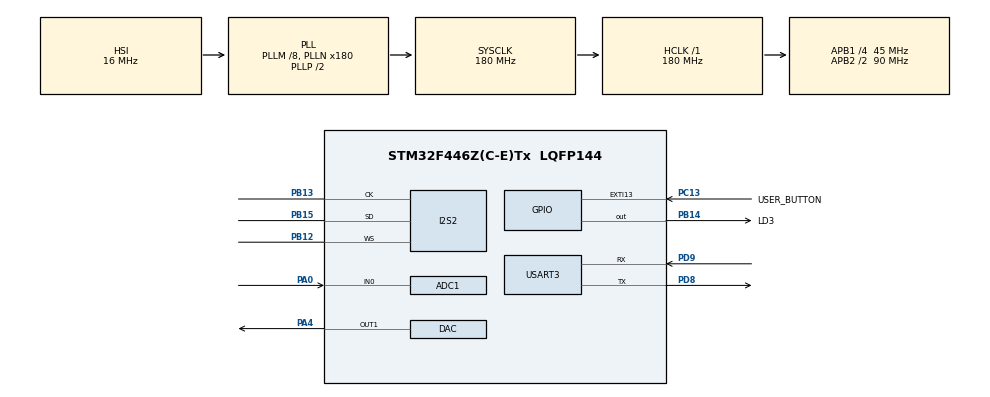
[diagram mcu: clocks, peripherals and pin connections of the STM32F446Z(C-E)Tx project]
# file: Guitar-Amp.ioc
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ADC1.Channel-0\#ChannelRegularConversion=ADC_CHANNEL_0
ADC1.DMAContinuousRequests=ENABLE
ADC1.ExternalTrigConv=ADC_EXTERNALTRIGCONV_T2_TRGO
ADC1.NbrOfConversionFlag=1
ADC1.Rank-0\#ChannelRegularConversion=1
ADC1.SamplingTime-0\#ChannelRegularConversion=ADC_SAMPLETIME_3CYCLES
ADC1.master=1
DAC.DAC_Trigger=DAC_TRIGGER_T2_TRGO
Dma.ADC1.0.Direction=DMA_PERIPH_TO_MEMORY
Dma.ADC1.0.FIFOMode=DMA_FIFOMODE_DISABLE
Dma.ADC1.0.Instance=DMA2_Stream0
Dma.ADC1.0.MemDataAlignment=DMA_MDATAALIGN_HALFWORD
Dma.ADC1.0.MemInc=DMA_MINC_ENABLE
Dma.ADC1.0.Mode=DMA_CIRCULAR
Dma.ADC1.0.PeriphDataAlignment=DMA_PDATAALIGN_HALFWORD
Dma.ADC1.0.PeriphInc=DMA_PINC_DISABLE
Dma.ADC1.0.Priority=DMA_PRIORITY_LOW
Dma.DAC1.1.Direction=DMA_MEMORY_TO_PERIPH
Dma.DAC1.1.FIFOMode=DMA_FIFOMODE_DISABLE
Dma.DAC1.1.Instance=DMA1_Stream5
Dma.DAC1.1.MemDataAlignment=DMA_MDATAALIGN_HALFWORD
Dma.DAC1.1.MemInc=DMA_MINC_ENABLE
Dma.DAC1.1.Mode=DMA_CIRCULAR
Dma.DAC1.1.PeriphDataAlignment=DMA_PDATAALIGN_HALFWORD
Dma.DAC1.1.PeriphInc=DMA_PINC_DISABLE
Dma.DAC1.1.Priority=DMA_PRIORITY_LOW
Dma.Request0=ADC1
Dma.Request1=DAC1
Dma.Request2=SPI2_TX
Dma.SPI2_TX.2.Direction=DMA_MEMORY_TO_PERIPH
Dma.SPI2_TX.2.FIFOMode=DMA_FIFOMODE_DISABLE
Dma.SPI2_TX.2.Instance=DMA1_Stream4
Dma.SPI2_TX.2.MemDataAlignment=DMA_MDATAALIGN_HALFWORD
Dma.SPI2_TX.2.MemInc=DMA_MINC_ENABLE
Dma.SPI2_TX.2.Mode=DMA_CIRCULAR
Dma.SPI2_TX.2.PeriphDataAlignment=DMA_PDATAALIGN_HALFWORD
Dma.SPI2_TX.2.PeriphInc=DMA_PINC_DISABLE
Dma.SPI2_TX.2.Priority=DMA_PRIORITY_LOW
I2S2.AudioFreq=I2S_AUDIOFREQ_48K
I2S2.ErrorAudioFreq=-0.79 %
I2S2.FullDuplexMode=I2S_FULLDUPLEXMODE_DISABLE
I2S2.Instance=SPI$Index
I2S2.RealAudioFreq=47.619 KHz
I2S2.VirtualMode=I2S_MODE_MASTER
Mcu.Family=STM32F4
Mcu.Name=STM32F446Z(C-E)Tx
Mcu.Package=LQFP144
NVIC.DMA1_Stream4_IRQn=true\:0\:0\:false\:false\:true\:false\:true\:true
NVIC.DMA1_Stream5_IRQn=true\:0\:0\:false\:false\:true\:false\:true\:true
NVIC.DMA2_Stream0_IRQn=true\:0\:0\:false\:false\:true\:false\:true\:true
NVIC.EXTI15_10_IRQn=true\:0\:0\:false\:false\:true\:true\:true\:true
NVIC.PriorityGroup=NVIC_PRIORITYGROUP_4
PA0-WKUP.Signal=ADCx_IN0
PA4.Signal=COMP_DAC1_group
PB12.Mode=Half_Duplex_Master
PB12.Signal=I2S2_WS
PB13.Mode=Half_Duplex_Master
PB13.Signal=I2S2_CK
PB14.GPIO_Label=LD3
PB14.Signal=GPIO_Output
PB15.Mode=Half_Duplex_Master
PB15.Signal=I2S2_SD
PC13.GPIO_Label=USER_BUTTON
PC13.GPIO_ModeDefaultEXTI=GPIO_MODE_IT_RISING
PC13.GPIO_PuPd=GPIO_NOPULL
PC13.Signal=GPXTI13
PC6.Signal=I2S2_MCK
PD8.Mode=Asynchronous
PD8.Signal=USART3_TX
PD9.Mode=Asynchronous
PD9.Signal=USART3_RX
ProjectManager.HeapSize=0x200
ProjectManager.StackSize=0x400
ProjectManager.TargetToolchain=CMake
RCC.AHBFreq_Value=180000000
RCC.APB1CLKDivider=RCC_HCLK_DIV4
RCC.APB1Freq_Value=45000000
RCC.APB1TimFreq_Value=90000000
RCC.APB2CLKDivider=RCC_HCLK_DIV2
RCC.APB2Freq_Value=90000000
RCC.APB2TimFreq_Value=180000000
RCC.CortexFreq_Value=180000000
RCC.HCLKFreq_Value=180000000
RCC.PLLM=8
RCC.PLLN=180
RCC.SYSCLKFreq_VALUE=180000000
RCC.SYSCLKSource=RCC_SYSCLKSOURCE_PLLCLK
RCC.USBFreq_Value=180000000
RCC.VCOOutputFreq_Value=360000000
SH.ADCx_IN0.0=ADC1_IN0,IN0
SH.COMP_DAC1_group.0=DAC_OUT1,DAC_OUT1
TIM2.Period=2040
TIM2.TIM_MasterOutputTrigger=TIM_TRGO_UPDATE
USART3.VirtualMode=VM_ASYNC
VP_TIM2_VS_ClockSourceINT.Mode=Internal
board=custom

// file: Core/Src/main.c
/* USER CODE BEGIN Header */
/**
  ******************************************************************************
  * @file           : main.c
  * @brief          : Main program body
  ******************************************************************************
  * @attention
  *
  * Copyright (c) 2026 STMicroelectronics.
  * All rights reserved.
  *
  * This software is licensed under terms that can be found in the LICENSE file
  * in the root directory of this software component.
  * If no LICENSE file comes with this software, it is provided AS-IS.
  *
  ******************************************************************************
  */
/* USER CODE END Header */
#include "main.h"

/* USER CODE BEGIN Includes */
#include "stdio.h"
#include <stdint.h>
#include "stm32f4xx_hal_gpio.h"
#include "math.h"
/* USER CODE END Includes */

/* USER CODE BEGIN PTD */
enum EFFECTS_ON {
  None,
  NoiseGate,
  NoiseGate_Delay,
  Delay,
  Distortion,
  NoiseGate_Distortion,
  Noisegate_Distortion_Reverb
};
/* USER CODE END PTD */

ADC_HandleTypeDef hadc1;
DMA_HandleTypeDef hdma_adc1;

DAC_HandleTypeDef hdac;
DMA_HandleTypeDef hdma_dac1;

I2S_HandleTypeDef hi2s2;
DMA_HandleTypeDef hdma_spi2_tx;

TIM_HandleTypeDef htim2;

UART_HandleTypeDef huart3;

/* USER CODE BEGIN PV */
#define AUDIO_BLOCK_SIZE  128
#define DELAY_SIZE 32768

// ADC buffer (2x block size for DMA double-buffering)
static uint16_t adc_buf[AUDIO_BLOCK_SIZE * 2];
// DAC buffer
static uint16_t dac_buf[AUDIO_BLOCK_SIZE * 2];
// I2S output buffer (stereo)
static int16_t i2s_tx_buf[4 * AUDIO_BLOCK_SIZE];
// Effects use this buffer
uint16_t effect_buf[AUDIO_BLOCK_SIZE * 2];

/* DELAY LINE STUFF FOR THE DELAY FUNCTION */
const uint16_t delay_buff_size_mask = DELAY_SIZE-1;
static uint16_t delay_ms, delay_samples, fs;
static uint16_t read_pointer, write_pointer;

uint16_t delayLine[DELAY_SIZE];

// 0 = process lower half, 1 = process upper half
static volatile uint8_t audio_block_ready = 0;
static volatile uint8_t audio_block_index = 0;

volatile enum EFFECTS_ON Effects_On = None;
/* USER CODE END PV */

void SystemClock_Config(void);
static void MX_GPIO_Init(void);
static void MX_DMA_Init(void);
static void MX_ADC1_Init(void);
static void MX_DAC_Init(void);
static void MX_TIM2_Init(void);
static void MX_USART3_UART_Init(void);
static void MX_I2S2_Init(void);

/* USER CODE BEGIN 0 */
int __io_putchar(int ch) {
  HAL_UART_Transmit(&huart3, (uint8_t*)&ch, 1, HAL_MAX_DELAY);
  return ch;
}

void HAL_ADC_ConvHalfCpltCallback(ADC_HandleTypeDef* hadc)
{
  // Lower half of adc_buf is ready
  audio_block_index = 0;
  audio_block_ready = 1;
}

void HAL_ADC_ConvCpltCallback(ADC_HandleTypeDef* hadc)
{
  // Upper half of adc_buf is ready
  audio_block_index = 1;
  audio_block_ready = 1;
}

//================================= EFFECTS BEGIN ====================================
void noise_gate(uint16_t *in_buf, uint16_t *out_buf, uint16_t size) {
  // Adjustable parametres
  const float threshold_open  = 110.0f;
  const float threshold_close = 70.0f;

  const float env_attack  = 0.25f;
  const float env_release = 0.003f;

  const float gain_attack  = 0.12f;
  const float gain_release = 0.0015f;

  const float closed_gain = 0.05f;

  // Persistent state
  static float envelope = 0.0f;
  static float gain = 1.0f;

  // Processing
  for (uint16_t i = 0; i < size; i++) {
    int32_t x = (int32_t)in_buf[i] - 2048;
    float level = (float)((x < 0) ? -x : x);

    // Envelope follower
    if (level > envelope) {
      envelope += env_attack * (level - envelope);
    } else {
      envelope += env_release * (level - envelope);
    }

    // Hysteresis gate decision
    float target_gain = gain;

    if (envelope >= threshold_open) {
      target_gain = 1.0f;
    } else if (envelope <= threshold_close) {
      target_gain = closed_gain;
    }

    // Smooth gain changes
    if (target_gain > gain) {
      gain += gain_attack * (target_gain - gain);
    } else {
      gain += gain_release * (target_gain - gain);
    }

    int32_t y = (int32_t)((float)x * gain);

    y += 2048;
    if (y < 0) y = 0;
    if (y > 4095) y = 4095;

    out_buf[i] = (uint16_t)y;
  }
}

void delay(uint16_t size, uint16_t *in, uint16_t *out){

  // audio parameters
  const float bl = 1.0f;
  const float fb = 0.5f;
  const float ff = 0.7f;

  // low-pass filter for feedback
  static float lp = 0;
  float alpha = 0.6f;

  for (uint16_t j = 0; j < size; ++j){

    float dry = (float)in[j] - 2048.0f;
    float delayed = (float)delayLine[read_pointer] - 2048.0f;

    // output computation
    float y = bl * dry + ff * delayed;

    // feedback computation
    lp = alpha * delayed + (1 - alpha) * lp;
    float fb_sample = dry + fb * lp;

    // clamp outputs
    float y_out = y + 2048.0f;
    if (y_out < 0.0f) y_out = 0.0f;
    if (y_out > 4095.0f) y_out = 4095.0f;

    float d_out = fb_sample + 2048.0f;
    if (d_out < 0.0f) d_out = 0.0f;
    if (d_out > 4095.0f) d_out = 4095.0f;

    out[j] = (uint16_t)y_out;
    delayLine[write_pointer] = (uint16_t)d_out;

    write_pointer = (write_pointer + 1) & delay_buff_size_mask;
    read_pointer  = (read_pointer  + 1) & delay_buff_size_mask;
  }
}

void distortion(uint16_t *buf_in, uint16_t *buf_out, uint16_t size)
{
  const float drive = 5.0f;    // input gain (adjustable)

  for (uint16_t i = 0; i < size; i++) {
    float x = ((int32_t)buf_in[i] - 2048) / 2048.0f;

    x *= drive;

    float y = tanhf(x);

    int32_t out = (int32_t)(y * 2048.0f) + 2048;

    if (out < 0) out = 0;
    if (out > 4095) out = 4095;

    buf_out[i] = (uint16_t)out;
  }
}

// =========================== EFFECTS END =================================

void process_audio(uint16_t* in_buf, uint16_t* out_buf, uint16_t size)
{
  switch(Effects_On){
    case None:
      for (uint16_t i = 0; i < size; i++) {
        out_buf[i] = in_buf[i];
      }
      break;
    case Delay:
      delay(size, in_buf, out_buf);
      break;
    case NoiseGate:
      noise_gate(in_buf, out_buf, size);
      break;
    case NoiseGate_Delay:
      noise_gate(in_buf, effect_buf, size);
      delay(size, effect_buf, out_buf);
      break;
    case Distortion:
      distortion(in_buf, out_buf, size);
      break;
    case NoiseGate_Distortion:
      noise_gate(in_buf, effect_buf, size);
      distortion(effect_buf, out_buf, size);
      break;
    case Noisegate_Distortion_Reverb:
      noise_gate(in_buf, effect_buf, size);
      distortion(effect_buf, effect_buf, size);
      delay(size, effect_buf, out_buf);
      break;
  }
}

void delay_parameters_init(void){
  delay_ms = 300;
  fs = 44100;
  delay_samples = delay_ms * fs / 1000;

  write_pointer = 0;
  read_pointer = DELAY_SIZE - delay_samples;  // start behind write pointer
}

/* USER CODE END 0 */

int main(void)
{

  /* MCU Configuration--------------------------------------------------------*/

  /* Reset of all peripherals, Initializes the Flash interface and the Systick. */
  HAL_Init();

  /* Configure the system clock */
  SystemClock_Config();

  /* Initialize all configured peripherals */
  MX_GPIO_Init();
  MX_DMA_Init();
  MX_ADC1_Init();
  MX_DAC_Init();
  MX_TIM2_Init();
  MX_USART3_UART_Init();
  MX_I2S2_Init();
  /* USER CODE BEGIN 2 */
  HAL_DAC_Start_DMA(&hdac, DAC_CHANNEL_1, (uint32_t *)dac_buf, AUDIO_BLOCK_SIZE * 2, DAC_ALIGN_12B_R);
  HAL_ADC_Start_DMA(&hadc1, (uint32_t *)adc_buf, AUDIO_BLOCK_SIZE * 2);
  HAL_I2S_Transmit_DMA(&hi2s2, (uint16_t *)i2s_tx_buf, 4 * AUDIO_BLOCK_SIZE);
  HAL_TIM_Base_Start(&htim2);
  printf("Amp Started\r\n");

  delay_parameters_init();
  /* USER CODE END 2 */

  /* Infinite loop */
  while (1)
  {

    /* USER CODE BEGIN 3 */
    if (audio_block_ready) {
      audio_block_ready = 0;
      uint32_t offset = audio_block_index * AUDIO_BLOCK_SIZE;
      process_audio(
        &adc_buf[offset],
        &dac_buf[offset],
        AUDIO_BLOCK_SIZE
      );
      for (uint16_t i = 0; i < AUDIO_BLOCK_SIZE; i++) {
        int16_t s = ((int32_t)dac_buf[offset + i] - 2048) << 4;

        i2s_tx_buf[2*(offset + i)]     = s; // Left
        i2s_tx_buf[2*(offset + i) + 1] = s; // Right
      }
    }
  }
  /* USER CODE END 3 */
}

void SystemClock_Config(void)
{
  RCC_OscInitTypeDef RCC_OscInitStruct = {0};
  RCC_ClkInitTypeDef RCC_ClkInitStruct = {0};

  /** Configure the main internal regulator output voltage
  */
  __HAL_RCC_PWR_CLK_ENABLE();
  __HAL_PWR_VOLTAGESCALING_CONFIG(PWR_REGULATOR_VOLTAGE_SCALE1);

  /** Initializes the RCC Oscillators according to the specified parameters
  * in the RCC_OscInitTypeDef structure.
  */
  RCC_OscInitStruct.OscillatorType = RCC_OSCILLATORTYPE_HSI;
  RCC_OscInitStruct.HSIState = RCC_HSI_ON;
  RCC_OscInitStruct.HSICalibrationValue = RCC_HSICALIBRATION_DEFAULT;
  RCC_OscInitStruct.PLL.PLLState = RCC_PLL_ON;
  RCC_OscInitStruct.PLL.PLLSource = RCC_PLLSOURCE_HSI;
  RCC_OscInitStruct.PLL.PLLM = 8;
  RCC_OscInitStruct.PLL.PLLN = 180;
  RCC_OscInitStruct.PLL.PLLP = RCC_PLLP_DIV2;
  RCC_OscInitStruct.PLL.PLLQ = 2;
  RCC_OscInitStruct.PLL.PLLR = 2;
  if (HAL_RCC_OscConfig(&RCC_OscInitStruct) != HAL_OK)
  {
    Error_Handler();
  }

  /** Activate the Over-Drive mode
  */
  if (HAL_PWREx_EnableOverDrive() != HAL_OK)
  {
    Error_Handler();
  }

  /** Initializes the CPU, AHB and APB buses clocks
  */
  RCC_ClkInitStruct.ClockType = RCC_CLOCKTYPE_HCLK|RCC_CLOCKTYPE_SYSCLK
                              |RCC_CLOCKTYPE_PCLK1|RCC_CLOCKTYPE_PCLK2;
  RCC_ClkInitStruct.SYSCLKSource = RCC_SYSCLKSOURCE_PLLCLK;
  RCC_ClkInitStruct.AHBCLKDivider = RCC_SYSCLK_DIV1;
  RCC_ClkInitStruct.APB1CLKDivider = RCC_HCLK_DIV4;
  RCC_ClkInitStruct.APB2CLKDivider = RCC_HCLK_DIV2;

  if (HAL_RCC_ClockConfig(&RCC_ClkInitStruct, FLASH_LATENCY_5) != HAL_OK)
  {
    Error_Handler();
  }
}

static void MX_ADC1_Init(void)
{

  ADC_ChannelConfTypeDef sConfig = {0};

  /** Configure the global features of the ADC (Clock, Resolution, Data Alignment and number of conversion)
  */
  hadc1.Instance = ADC1;
  hadc1.Init.ClockPrescaler = ADC_CLOCK_SYNC_PCLK_DIV4;
  hadc1.Init.Resolution = ADC_RESOLUTION_12B;
  hadc1.Init.ScanConvMode = DISABLE;
  hadc1.Init.ContinuousConvMode = DISABLE;
  hadc1.Init.DiscontinuousConvMode = DISABLE;
  hadc1.Init.ExternalTrigConvEdge = ADC_EXTERNALTRIGCONVEDGE_RISING;
  hadc1.Init.ExternalTrigConv = ADC_EXTERNALTRIGCONV_T2_TRGO;
  hadc1.Init.DataAlign = ADC_DATAALIGN_RIGHT;
  hadc1.Init.NbrOfConversion = 1;
  hadc1.Init.DMAContinuousRequests = ENABLE;
  hadc1.Init.EOCSelection = ADC_EOC_SINGLE_CONV;
  if (HAL_ADC_Init(&hadc1) != HAL_OK)
  {
    Error_Handler();
  }

  /** Configure for the selected ADC regular channel its corresponding rank in the sequencer and its sample time.
  */
  sConfig.Channel = ADC_CHANNEL_0;
  sConfig.Rank = 1;
  sConfig.SamplingTime = ADC_SAMPLETIME_3CYCLES;
  if (HAL_ADC_ConfigChannel(&hadc1, &sConfig) != HAL_OK)
  {
    Error_Handler();
  }

}

static void MX_DAC_Init(void)
{

  DAC_ChannelConfTypeDef sConfig = {0};

  /** DAC Initialization
  */
  hdac.Instance = DAC;
  if (HAL_DAC_Init(&hdac) != HAL_OK)
  {
    Error_Handler();
  }

  /** DAC channel OUT1 config
  */
  sConfig.DAC_Trigger = DAC_TRIGGER_T2_TRGO;
  sConfig.DAC_OutputBuffer = DAC_OUTPUTBUFFER_ENABLE;
  if (HAL_DAC_ConfigChannel(&hdac, &sConfig, DAC_CHANNEL_1) != HAL_OK)
  {
    Error_Handler();
  }

}

static void MX_I2S2_Init(void)
{

  hi2s2.Instance = SPI2;
  hi2s2.Init.Mode = I2S_MODE_MASTER_TX;
  hi2s2.Init.Standard = I2S_STANDARD_PHILIPS;
  hi2s2.Init.DataFormat = I2S_DATAFORMAT_16B;
  hi2s2.Init.MCLKOutput = I2S_MCLKOUTPUT_DISABLE;
  hi2s2.Init.AudioFreq = I2S_AUDIOFREQ_44K;
  hi2s2.Init.CPOL = I2S_CPOL_LOW;
  hi2s2.Init.ClockSource = I2S_CLOCK_PLL;
  hi2s2.Init.FullDuplexMode = I2S_FULLDUPLEXMODE_DISABLE;
  if (HAL_I2S_Init(&hi2s2) != HAL_OK)
  {
    Error_Handler();
  }

}

static void MX_TIM2_Init(void)
{

  TIM_ClockConfigTypeDef sClockSourceConfig = {0};
  TIM_MasterConfigTypeDef sMasterConfig = {0};

  htim2.Instance = TIM2;
  htim2.Init.Prescaler = 0;
  htim2.Init.CounterMode = TIM_COUNTERMODE_UP;
  htim2.Init.Period = 2040;
  htim2.Init.ClockDivision = TIM_CLOCKDIVISION_DIV1;
  htim2.Init.AutoReloadPreload = TIM_AUTORELOAD_PRELOAD_DISABLE;
  if (HAL_TIM_Base_Init(&htim2) != HAL_OK)
  {
    Error_Handler();
  }
  sClockSourceConfig.ClockSource = TIM_CLOCKSOURCE_INTERNAL;
  if (HAL_TIM_ConfigClockSource(&htim2, &sClockSourceConfig) != HAL_OK)
  {
    Error_Handler();
  }
  sMasterConfig.MasterOutputTrigger = TIM_TRGO_UPDATE;
  sMasterConfig.MasterSlaveMode = TIM_MASTERSLAVEMODE_DISABLE;
  if (HAL_TIMEx_MasterConfigSynchronization(&htim2, &sMasterConfig) != HAL_OK)
  {
    Error_Handler();
  }

}

static void MX_USART3_UART_Init(void)
{

  huart3.Instance = USART3;
  huart3.Init.BaudRate = 115200;
  huart3.Init.WordLength = UART_WORDLENGTH_8B;
  huart3.Init.StopBits = UART_STOPBITS_1;
  huart3.Init.Parity = UART_PARITY_NONE;
  huart3.Init.Mode = UART_MODE_TX_RX;
  huart3.Init.HwFlowCtl = UART_HWCONTROL_NONE;
  huart3.Init.OverSampling = UART_OVERSAMPLING_16;
  if (HAL_UART_Init(&huart3) != HAL_OK)
  {
    Error_Handler();
  }

}

static void MX_DMA_Init(void)
{

  /* DMA controller clock enable */
  __HAL_RCC_DMA2_CLK_ENABLE();
  __HAL_RCC_DMA1_CLK_ENABLE();

  /* DMA interrupt init */
  /* DMA1_Stream4_IRQn interrupt configuration */
  HAL_NVIC_SetPriority(DMA1_Stream4_IRQn, 0, 0);
  HAL_NVIC_EnableIRQ(DMA1_Stream4_IRQn);
  /* DMA1_Stream5_IRQn interrupt configuration */
  HAL_NVIC_SetPriority(DMA1_Stream5_IRQn, 0, 0);
  HAL_NVIC_EnableIRQ(DMA1_Stream5_IRQn);
  /* DMA2_Stream0_IRQn interrupt configuration */
  HAL_NVIC_SetPriority(DMA2_Stream0_IRQn, 0, 0);
  HAL_NVIC_EnableIRQ(DMA2_Stream0_IRQn);

}

static void MX_GPIO_Init(void)
{
  GPIO_InitTypeDef GPIO_InitStruct = {0};

  /* GPIO Ports Clock Enable */
  __HAL_RCC_GPIOC_CLK_ENABLE();
  __HAL_RCC_GPIOA_CLK_ENABLE();
  __HAL_RCC_GPIOB_CLK_ENABLE();
  __HAL_RCC_GPIOD_CLK_ENABLE();

  /*Configure GPIO pin Output Level */
  HAL_GPIO_WritePin(LD3_GPIO_Port, LD3_Pin, GPIO_PIN_RESET);

  /*Configure GPIO pin : USER_BUTTON_Pin */
  GPIO_InitStruct.Pin = USER_BUTTON_Pin;
  GPIO_InitStruct.Mode = GPIO_MODE_IT_RISING;
  GPIO_InitStruct.Pull = GPIO_NOPULL;
  HAL_GPIO_Init(USER_BUTTON_GPIO_Port, &GPIO_InitStruct);

  /*Configure GPIO pin : LD3_Pin */
  GPIO_InitStruct.Pin = LD3_Pin;
  GPIO_InitStruct.Mode = GPIO_MODE_OUTPUT_PP;
  GPIO_InitStruct.Pull = GPIO_NOPULL;
  GPIO_InitStruct.Speed = GPIO_SPEED_FREQ_LOW;
  HAL_GPIO_Init(LD3_GPIO_Port, &GPIO_InitStruct);

  /* EXTI interrupt init*/
  HAL_NVIC_SetPriority(EXTI15_10_IRQn, 0, 0);
  HAL_NVIC_EnableIRQ(EXTI15_10_IRQn);

}

/* USER CODE BEGIN 4 */
void HAL_GPIO_EXTI_Callback(uint16_t GPIO_Pin)
{
  if (GPIO_Pin == USER_BUTTON_Pin) {
    //BUTTON INTERRUPT HERE
    switch (Effects_On) {
      case None:
        Effects_On = NoiseGate;
        printf("Noise Gate\r\n");
        break;
      case NoiseGate:
        Effects_On = NoiseGate_Delay;
        printf("Noise Gate & Delay\r\n");
        break;
      case NoiseGate_Delay:
        Effects_On = Delay;
        printf("Delay only\r\n");
        break;
      case Delay:
        Effects_On = Distortion;
        printf("Distortion only \r\n");
        break;
      case Distortion:
        Effects_On = NoiseGate_Distortion;
        printf("Noise Gate & Distortion\r\n");
        break;
      case NoiseGate_Distortion:
        Effects_On = Noisegate_Distortion_Reverb;
        printf("All effects on\r\n");
        break;
      case Noisegate_Distortion_Reverb:
        Effects_On = None;
        printf("Effects off\r\n");
        break;
    }
  }
}
/* USER CODE END 4 */

void Error_Handler(void)
{
  __disable_irq();
  while (1)
  {
  }
}
